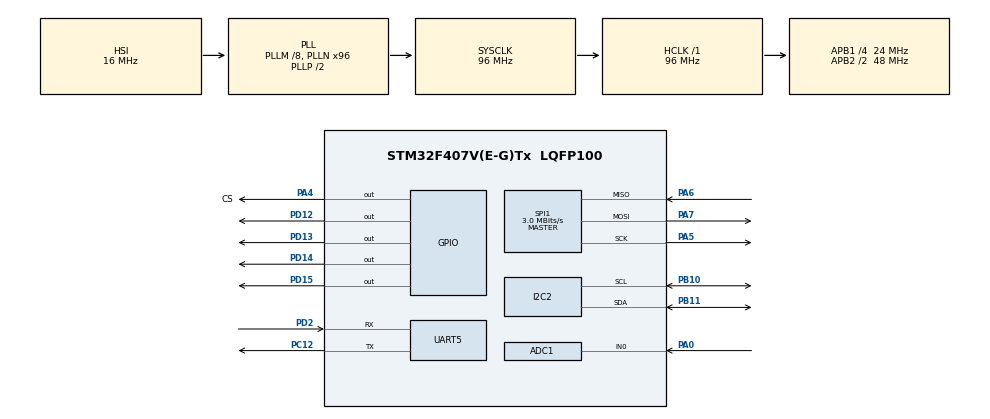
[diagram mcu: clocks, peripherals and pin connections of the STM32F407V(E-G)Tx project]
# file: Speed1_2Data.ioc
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ADC1.Channel-3\#ChannelRegularConversion=ADC_CHANNEL_0
ADC1.ContinuousConvMode=DISABLE
ADC1.NbrOfConversionFlag=1
ADC1.Rank-3\#ChannelRegularConversion=1
ADC1.SamplingTime-3\#ChannelRegularConversion=ADC_SAMPLETIME_84CYCLES
ADC1.master=1
I2C2.DutyCycle=I2C_DUTYCYCLE_16_9
I2C2.I2C_Mode=I2C_Fast
Mcu.Family=STM32F4
Mcu.Name=STM32F407V(E-G)Tx
Mcu.Package=LQFP100
NVIC.PriorityGroup=NVIC_PRIORITYGROUP_4
NVIC.TIM2_IRQn=true\:0\:0\:false\:false\:true\:true\:true\:true
NVIC.TIM3_IRQn=true\:0\:0\:false\:false\:true\:true\:true\:true
PA0-WKUP.Signal=ADCx_IN0
PA13.Mode=Serial_Wire
PA13.Signal=SYS_JTMS-SWDIO
PA14.Mode=Serial_Wire
PA14.Signal=SYS_JTCK-SWCLK
PA4.GPIO_Label=CS
PA4.GPIO_PuPd=GPIO_PULLUP
PA4.GPIO_Speed=GPIO_SPEED_FREQ_VERY_HIGH
PA4.PinState=GPIO_PIN_SET
PA4.Signal=GPIO_Output
PA5.GPIO_Speed=GPIO_SPEED_FREQ_HIGH
PA5.Mode=Full_Duplex_Master
PA5.Signal=SPI1_SCK
PA6.GPIO_Speed=GPIO_SPEED_FREQ_HIGH
PA6.Mode=Full_Duplex_Master
PA6.Signal=SPI1_MISO
PA7.GPIO_Speed=GPIO_SPEED_FREQ_HIGH
PA7.Mode=Full_Duplex_Master
PA7.Signal=SPI1_MOSI
PB10.GPIO_Pu=GPIO_PULLUP
PB10.Mode=I2C
PB10.Signal=I2C2_SCL
PB11.GPIO_Pu=GPIO_PULLUP
PB11.Mode=I2C
PB11.Signal=I2C2_SDA
PC12.Mode=Asynchronous
PC12.Signal=UART5_TX
PD12.GPIO_PuPd=GPIO_NOPULL
PD12.Signal=GPIO_Output
PD13.Signal=GPIO_Output
PD14.Signal=GPIO_Output
PD15.Signal=GPIO_Output
PD2.Mode=Asynchronous
PD2.Signal=UART5_RX
ProjectManager.HeapSize=0x800
ProjectManager.StackSize=0x800
ProjectManager.TargetToolchain=STM32CubeIDE
RCC.48MHZClocksFreq_Value=48000000
RCC.AHBFreq_Value=96000000
RCC.APB1CLKDivider=RCC_HCLK_DIV4
RCC.APB1Freq_Value=24000000
RCC.APB1TimFreq_Value=48000000
RCC.APB2CLKDivider=RCC_HCLK_DIV2
RCC.APB2Freq_Value=48000000
RCC.APB2TimFreq_Value=96000000
RCC.CortexFreq_Value=96000000
RCC.HCLKFreq_Value=96000000
RCC.HSE_VALUE=25000000
RCC.HSI_VALUE=16000000
RCC.LSE_VALUE=32768
RCC.PLLM=8
RCC.PLLN=96
RCC.SYSCLKFreq_VALUE=96000000
RCC.SYSCLKSource=RCC_SYSCLKSOURCE_PLLCLK
RCC.VCOOutputFreq_Value=192000000
SH.ADCx_IN0.0=ADC1_IN0,IN0
SPI1.BaudRatePrescaler=SPI_BAUDRATEPRESCALER_16
SPI1.CLKPhase=SPI_PHASE_2EDGE
SPI1.CLKPolarity=SPI_POLARITY_HIGH
SPI1.CalculateBaudRate=3.0 MBits/s
SPI1.Direction=SPI_DIRECTION_2LINES
SPI1.Mode=SPI_MODE_MASTER
SPI1.VirtualType=VM_MASTER
STMicroelectronics.X-CUBE-AI.10.1.0.ActivationBufferSizeList=2356
STMicroelectronics.X-CUBE-AI.10.1.0.ActivationBuffers=pool0
STMicroelectronics.X-CUBE-AI.10.1.0.ActivationNames=pool0
STMicroelectronics.X-CUBE-AI.10.1.0.ActivationSizes=AI_NETWORK_DATA_ACTIVATION_1_SIZE
STMicroelectronics.X-CUBE-AI.10.1.0.HeapSize=0x800
STMicroelectronics.X-CUBE-AI.10.1.0.InternalRamActivationBufferMaxSize=AI_NETWORK_DATA_ACTIVATIONS_SIZE
STMicroelectronics.X-CUBE-AI.10.1.0.LatestDirectoryUsed-e8f0356ef31d2fd0b68baaa185d27bc88fe15392d36cc2b16461b700e6924d8d=/home/desd/Downloads
STMicroelectronics.X-CUBE-AI.10.1.0.MaximumNumberOfInputLayer=1
STMicroelectronics.X-CUBE-AI.10.1.0.MaximumNumberOfOutputLayer=1
STMicroelectronics.X-CUBE-AI.10.1.0.MaximumSizeOfInputLayer=1
STMicroelectronics.X-CUBE-AI.10.1.0.MaximumSizeOfOutputLayer=1
STMicroelectronics.X-CUBE-AI.10.1.0.ModelActualCompression-e8f0356ef31d2fd0b68baaa185d27bc88fe15392d36cc2b16461b700e6924d8d=0.0
STMicroelectronics.X-CUBE-AI.10.1.0.ModelCompression-e8f0356ef31d2fd0b68baaa185d27bc88fe15392d36cc2b16461b700e6924d8d=None
STMicroelectronics.X-CUBE-AI.10.1.0.ModelFlashOccupation-e8f0356ef31d2fd0b68baaa185d27bc88fe15392d36cc2b16461b700e6924d8d=9800
STMicroelectronics.X-CUBE-AI.10.1.0.ModelHashList=e8f0356ef31d2fd0b68baaa185d27bc88fe15392d36cc2b16461b700e6924d8d
STMicroelectronics.X-CUBE-AI.10.1.0.ModelKind-e8f0356ef31d2fd0b68baaa185d27bc88fe15392d36cc2b16461b700e6924d8d=TFLITE
STMicroelectronics.X-CUBE-AI.10.1.0.ModelMacc-e8f0356ef31d2fd0b68baaa185d27bc88fe15392d36cc2b16461b700e6924d8d=138
STMicroelectronics.X-CUBE-AI.10.1.0.ModelName-e8f0356ef31d2fd0b68baaa185d27bc88fe15392d36cc2b16461b700e6924d8d=network
STMicroelectronics.X-CUBE-AI.10.1.0.ModelNameList=network
STMicroelectronics.X-CUBE-AI.10.1.0.ModelRamOccupation-e8f0356ef31d2fd0b68baaa185d27bc88fe15392d36cc2b16461b700e6924d8d=2356
STMicroelectronics.X-CUBE-AI.10.1.0.ModelStructureFile-e8f0356ef31d2fd0b68baaa185d27bc88fe15392d36cc2b16461b700e6924d8d=/home/desd/Downloads/Speed1&2Model.tflite
STMicroelectronics.X-CUBE-AI.10.1.0.ModelType-e8f0356ef31d2fd0b68baaa185d27bc88fe15392d36cc2b16461b700e6924d8d=STM32Cube.AI MCU runtime
STMicroelectronics.X-CUBE-AI.10.1.0.ReadyForCodeGeneration=true
STMicroelectronics.X-CUBE-AI.10.1.0.StackSize=0x800
STMicroelectronics.X-CUBE-AI.10.1.0.WorkingBufferStartAddrList=0xFFFFFFFF
STMicroelectronics.X-CUBE-AI.10.1.0.XAaCUBEAaAICcArtificialOoIntelligenceJjCore=true
STMicroelectronics.X-CUBE-AI.10.1.0.copyWeightToRam=false
STMicroelectronics.X-CUBE-AI.10.1.0.copyWeightToRam-e8f0356ef31d2fd0b68baaa185d27bc88fe15392d36cc2b16461b700e6924d8d=false
STMicroelectronics.X-CUBE-AI.10.1.0.customLayerConfigEnabled=false
STMicroelectronics.X-CUBE-AI.10.1.0.customLayerConfigEnabled-e8f0356ef31d2fd0b68baaa185d27bc88fe15392d36cc2b16461b700e6924d8d=false
STMicroelectronics.X-CUBE-AI.10.1.0.noOnnxIoTranspose=false
STMicroelectronics.X-CUBE-AI.10.1.0.noOnnxIoTranspose-e8f0356ef31d2fd0b68baaa185d27bc88fe15392d36cc2b16461b700e6924d8d=false
STMicroelectronics.X-CUBE-AI.10.1.0.outputDirectory=/home/desd/.stm32cubemx/health_network_output
STMicroelectronics.X-CUBE-AI.10.1.0.useInputAllocation=true
STMicroelectronics.X-CUBE-AI.10.1.0.useInputAllocation-e8f0356ef31d2fd0b68baaa185d27bc88fe15392d36cc2b16461b700e6924d8d=true
STMicroelectronics.X-CUBE-AI.10.1.0.useOutputAllocation=true
STMicroelectronics.X-CUBE-AI.10.1.0.useOutputAllocation-e8f0356ef31d2fd0b68baaa185d27bc88fe15392d36cc2b16461b700e6924d8d=true
TIM2.Period=249
TIM2.Prescaler=95
TIM3.Period=1249
TIM3.Prescaler=95
UART5.VirtualMode=Asynchronous
VP_CRC_VS_CRC.Mode=CRC_Activate
VP_STMicroelectronics.X-CUBE-AI_VS_ArtificialOoIntelligenceJjXAaCUBEAaAI_10.1.0.Mode=ArtificialOoIntelligenceJjXAaCUBEAaAI
VP_TIM2_VS_ClockSourceINT.Mode=Internal
VP_TIM3_VS_ClockSourceINT.Mode=Internal
board=custom

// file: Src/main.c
/* USER CODE BEGIN Header */
/**
 ******************************************************************************
 * @file           : main.c
 * @brief          : Main program body
 ******************************************************************************
 * @attention
 *
 * Copyright (c) 2026 STMicroelectronics.
 * All rights reserved.
 *
 * This software is licensed under terms that can be found in the LICENSE file
 * in the root directory of this software component.
 * If no LICENSE file comes with this software, it is provided AS-IS.
 *
 ******************************************************************************
 */
/* USER CODE END Header */
#include "main.h"

/* USER CODE BEGIN Includes */
#include <math.h>
#include <stdio.h>
#include <stdlib.h>
#include <time.h>
#include <string.h>
#include <stdarg.h>

#include "network.h"
#include "network_data.h"
/* USER CODE END Includes */

/* USER CODE BEGIN PD */
//==========================================================================
#define SHT31_ADDR          (0x44 << 1) // Try 0x45 if 0x44 fails
//===========================================================================
#define ADXL345_CS_PORT     GPIOA
#define ADXL345_CS_PIN      GPIO_PIN_4
//===========================================================================
#define REG_DATAX0          0x32
//============================================================================
#define MEAN_IRMS			0.19303803
#define MEAN_VIBMAG			0.35111946
#define SD_IRMS				0.00615908
#define SD_VIBMAG			0.04134532
#define THRESHOLD			0.2892727262753771
//=============================================================================
#define QUEUE_MAX_SIZE		2
#define SAMPLE_RATE_HZ      4000
#define RMS_WINDOW_MS       40

#define RMS_SAMPLES         ((SAMPLE_RATE_HZ * RMS_WINDOW_MS) / 1000) // 160
#define ADC_LSB             (2.976f / 4095.0f)
#define CURRENT_NOISE_A     0.03f
#define DIVIDER_RATIO 		0.3125f   // 10k / (10k + 22k)

//============================================================================
typedef struct {
	float Irms[QUEUE_MAX_SIZE];
	float VibrationMag[QUEUE_MAX_SIZE];
	uint16_t count;   // how many valid samples
} dataBuff_t;
//==============================================================================
#define VIB_RMS_SAMPLES   16   // 32 samples @ 800 Hz = 40 ms

//================================================================================
/* USER CODE END PD */

ADC_HandleTypeDef hadc1;

CRC_HandleTypeDef hcrc;

I2C_HandleTypeDef hi2c2;

SPI_HandleTypeDef hspi1;

TIM_HandleTypeDef htim2;
TIM_HandleTypeDef htim3;

UART_HandleTypeDef huart5;

/* USER CODE BEGIN PV */
volatile float Irms = 0, mag = 0;
volatile uint16_t adc_zero_offset = 2048;   // default mid-scale
float v_off_x = 0, v_off_y = 0, v_off_z = 0;
const float sensitivity = 0.185f;

volatile uint8_t flag_vibe = 0;

ai_u8 activations[AI_NETWORK_DATA_ACTIVATIONS_SIZE];
float in_data[AI_NETWORK_IN_1_SIZE];
float out_data[AI_NETWORK_OUT_1_SIZE];

/* AI buffer IO handlers */
ai_buffer *ai_input;
ai_buffer *ai_output;

//float *out_val, reconError;
ai_i32 n_batch;

dataBuff_t queueA, queueB;
dataBuff_t *activeQueue = &queueA;
dataBuff_t *processQueue = &queueB;

volatile uint8_t inference_pending = 0;

float error = 0;

volatile uint8_t adc_sample_flag = 0;
static uint16_t adc_index = 0;

volatile float vib_sq_acc = 0.0f;
volatile uint16_t vib_count = 0;
volatile float vib_rms_buffer = 0.0f;
volatile uint8_t vib_rms_pending = 0;

float avgIrms, avgVib;

float adc_offset_f = 0.0f;
/* USER CODE END PV */

void SystemClock_Config(void);
static void MX_GPIO_Init(void);
static void MX_I2C2_Init(void);
static void MX_SPI1_Init(void);
static void MX_ADC1_Init(void);
static void MX_TIM2_Init(void);
static void MX_TIM3_Init(void);
static void MX_UART5_Init(void);
static void MX_CRC_Init(void);
/* USER CODE BEGIN PFP */
void ADXL_Write(uint8_t reg, uint8_t val);
void Init_Predictive_Maintenance(void);
void Read_SHT31(void);
void Read_Vibration_Data(void);
void Calibrate_Vibration(void);

void UART_Printf(const char *fmt, ...);

void initializeQueue(dataBuff_t *queue);

void storeSample(float irms, float vib);

void computeAverages(dataBuff_t *q, float *avgIrms, float *avgVib);

void readData(void);

void Send_Anomaly_Status(uint8_t anomaly);

void Calibrate_Current_Zero(void);

void Send_UART_Packet(float irms, float vib, uint8_t anomaly);

float generate_Irms(float vib);

/* USER CODE END PFP */

int main(void) {

	/* MCU Configuration--------------------------------------------------------*/

	/* Reset of all peripherals, Initializes the Flash interface and the Systick. */
	HAL_Init();

	/* Configure the system clock */
	SystemClock_Config();

	/* Initialize all configured peripherals */
	MX_GPIO_Init();
	MX_I2C2_Init();
	MX_SPI1_Init();
	MX_ADC1_Init();
	MX_TIM2_Init();
	MX_TIM3_Init();
	MX_UART5_Init();
	MX_CRC_Init();
	/* USER CODE BEGIN 2 */
	ai_handle network = AI_HANDLE_NULL;
	ai_error err;
	ai_network_report report;

	/** @brief Initialize network */
	const ai_handle acts[] = { activations };
	err = ai_network_create_and_init(&network, acts, NULL);
	if (err.type != AI_ERROR_NONE) {
		UART_Printf("ai init_and_create error\r\n");
		return -1;
	}

	/** @brief {optional} for debug/log purpose */
	if (ai_network_get_report(network, &report) != true) {
		UART_Printf("ai get report error\r\n");
		return -1;
	}

	UART_Printf("Model name      : %s\r\n", report.model_name);
	UART_Printf("Model signature : %s\r\n", report.model_signature);

	ai_input = &report.inputs[0];
	ai_output = &report.outputs[0];
	UART_Printf("input[0] : (%d, %d, %d)\r\n",
			AI_BUFFER_SHAPE_ELEM(ai_input, AI_SHAPE_HEIGHT),
			AI_BUFFER_SHAPE_ELEM(ai_input, AI_SHAPE_WIDTH),
			AI_BUFFER_SHAPE_ELEM(ai_input, AI_SHAPE_CHANNEL));
	UART_Printf("output[0] : (%d, %d, %d)\r\n",
			AI_BUFFER_SHAPE_ELEM(ai_output, AI_SHAPE_HEIGHT),
			AI_BUFFER_SHAPE_ELEM(ai_output, AI_SHAPE_WIDTH),
			AI_BUFFER_SHAPE_ELEM(ai_output, AI_SHAPE_CHANNEL));

	//ai_i32 n_batch;

	HAL_Delay(250);

	Init_Predictive_Maintenance();
	Calibrate_Vibration();
	//Run_Startup_Calibration();

	for (int i = 0; i < 50; i++) {
		HAL_ADC_Start(&hadc1);
		HAL_ADC_PollForConversion(&hadc1, 1);
		HAL_ADC_GetValue(&hadc1);
	}

	HAL_Delay(50);

	initializeQueue(&queueA);
	initializeQueue(&queueB);

	for (int i = 0; i < 200; i++) {
		HAL_ADC_Start(&hadc1);
		HAL_ADC_PollForConversion(&hadc1, 1);
		float current = ((int32_t) HAL_ADC_GetValue(&hadc1) - adc_zero_offset)
				* ADC_LSB / sensitivity;
		UART_Printf("%.4f\r\n", current);
	}

	Calibrate_Current_Zero();
	HAL_TIM_Base_Start_IT(&htim2);
	HAL_TIM_Base_Start_IT(&htim3);

	/* USER CODE END 2 */

	/* Infinite loop */
	/* USER CODE BEGIN WHILE */
	while (1) {
		if (adc_sample_flag) {
			readData();
			adc_sample_flag = 0;
		}

		if (flag_vibe) {
			Read_Vibration_Data();
			flag_vibe = 0;
		}

		if (inference_pending) {

			computeAverages(processQueue, &avgIrms, &avgVib);

			if (avgIrms < 0)
				avgIrms = 0;
			if (avgVib < 0)
				avgVib = 0;

			// Normalize
			in_data[0] = (avgIrms - MEAN_IRMS) / SD_IRMS;
			in_data[1] = (avgVib - MEAN_VIBMAG) / SD_VIBMAG;

			ai_input = ai_network_inputs_get(network, NULL);
			ai_output = ai_network_outputs_get(network, NULL);

			ai_input[0].data = AI_HANDLE_PTR(in_data);
			ai_output[0].data = AI_HANDLE_PTR(out_data);

			if (ai_network_run(network, &ai_input[0], &ai_output[0]) == 1) {

				error = ((in_data[0] - out_data[0]) * (in_data[0] - out_data[0])
						+ (in_data[1] - out_data[1])
								* (in_data[1] - out_data[1])) / 2.0f;

				UART_Printf("AVG Irms: %.3f | AVG Vib: %.3f\r\n", avgIrms,
						avgVib);
				UART_Printf("Reconstruction Error: %.4f\r\n", error);

				if (error > THRESHOLD) {
					UART_Printf("Anomaly Detected\r\n");
					Send_UART_Packet(avgIrms, avgVib, 1);

				} else {
					UART_Printf("Normal Operation\r\n");
					Send_UART_Packet(avgIrms, avgVib, 0);
				}
			}

			processQueue->count = 0;
			inference_pending = 0;
		}

		HAL_Delay(10);

		/* USER CODE END WHILE */

	}
}

void SystemClock_Config(void) {
	RCC_OscInitTypeDef RCC_OscInitStruct = { 0 };
	RCC_ClkInitTypeDef RCC_ClkInitStruct = { 0 };

	/** Configure the main internal regulator output voltage
	 */
	__HAL_RCC_PWR_CLK_ENABLE();
	__HAL_PWR_VOLTAGESCALING_CONFIG(PWR_REGULATOR_VOLTAGE_SCALE1);

	/** Initializes the RCC Oscillators according to the specified parameters
	 * in the RCC_OscInitTypeDef structure.
	 */
	RCC_OscInitStruct.OscillatorType = RCC_OSCILLATORTYPE_HSI;
	RCC_OscInitStruct.HSIState = RCC_HSI_ON;
	RCC_OscInitStruct.HSICalibrationValue = RCC_HSICALIBRATION_DEFAULT;
	RCC_OscInitStruct.PLL.PLLState = RCC_PLL_ON;
	RCC_OscInitStruct.PLL.PLLSource = RCC_PLLSOURCE_HSI;
	RCC_OscInitStruct.PLL.PLLM = 8;
	RCC_OscInitStruct.PLL.PLLN = 96;
	RCC_OscInitStruct.PLL.PLLP = RCC_PLLP_DIV2;
	RCC_OscInitStruct.PLL.PLLQ = 4;
	if (HAL_RCC_OscConfig(&RCC_OscInitStruct) != HAL_OK) {
		Error_Handler();
	}

	/** Initializes the CPU, AHB and APB buses clocks
	 */
	RCC_ClkInitStruct.ClockType = RCC_CLOCKTYPE_HCLK | RCC_CLOCKTYPE_SYSCLK
			| RCC_CLOCKTYPE_PCLK1 | RCC_CLOCKTYPE_PCLK2;
	RCC_ClkInitStruct.SYSCLKSource = RCC_SYSCLKSOURCE_PLLCLK;
	RCC_ClkInitStruct.AHBCLKDivider = RCC_SYSCLK_DIV1;
	RCC_ClkInitStruct.APB1CLKDivider = RCC_HCLK_DIV4;
	RCC_ClkInitStruct.APB2CLKDivider = RCC_HCLK_DIV2;

	if (HAL_RCC_ClockConfig(&RCC_ClkInitStruct, FLASH_LATENCY_3) != HAL_OK) {
		Error_Handler();
	}
}

static void MX_ADC1_Init(void) {

	ADC_ChannelConfTypeDef sConfig = { 0 };

	/** Configure the global features of the ADC (Clock, Resolution, Data Alignment and number of conversion)
	 */
	hadc1.Instance = ADC1;
	hadc1.Init.ClockPrescaler = ADC_CLOCK_SYNC_PCLK_DIV4;
	hadc1.Init.Resolution = ADC_RESOLUTION_12B;
	hadc1.Init.ScanConvMode = DISABLE;
	hadc1.Init.ContinuousConvMode = DISABLE;
	hadc1.Init.DiscontinuousConvMode = DISABLE;
	hadc1.Init.ExternalTrigConvEdge = ADC_EXTERNALTRIGCONVEDGE_NONE;
	hadc1.Init.ExternalTrigConv = ADC_SOFTWARE_START;
	hadc1.Init.DataAlign = ADC_DATAALIGN_RIGHT;
	hadc1.Init.NbrOfConversion = 1;
	hadc1.Init.DMAContinuousRequests = DISABLE;
	hadc1.Init.EOCSelection = ADC_EOC_SINGLE_CONV;
	if (HAL_ADC_Init(&hadc1) != HAL_OK) {
		Error_Handler();
	}

	/** Configure for the selected ADC regular channel its corresponding rank in the sequencer and its sample time.
	 */
	sConfig.Channel = ADC_CHANNEL_2;
	sConfig.Rank = 1;
	sConfig.SamplingTime = ADC_SAMPLETIME_144CYCLES;
	if (HAL_ADC_ConfigChannel(&hadc1, &sConfig) != HAL_OK) {
		Error_Handler();
	}

}

static void MX_CRC_Init(void) {

	hcrc.Instance = CRC;
	if (HAL_CRC_Init(&hcrc) != HAL_OK) {
		Error_Handler();
	}

}

static void MX_I2C2_Init(void) {

	hi2c2.Instance = I2C2;
	hi2c2.Init.ClockSpeed = 400000;
	hi2c2.Init.DutyCycle = I2C_DUTYCYCLE_16_9;
	hi2c2.Init.OwnAddress1 = 0;
	hi2c2.Init.AddressingMode = I2C_ADDRESSINGMODE_7BIT;
	hi2c2.Init.DualAddressMode = I2C_DUALADDRESS_DISABLE;
	hi2c2.Init.OwnAddress2 = 0;
	hi2c2.Init.GeneralCallMode = I2C_GENERALCALL_DISABLE;
	hi2c2.Init.NoStretchMode = I2C_NOSTRETCH_DISABLE;
	if (HAL_I2C_Init(&hi2c2) != HAL_OK) {
		Error_Handler();
	}

}

static void MX_SPI1_Init(void) {

	/* SPI1 parameter configuration*/
	hspi1.Instance = SPI1;
	hspi1.Init.Mode = SPI_MODE_MASTER;
	hspi1.Init.Direction = SPI_DIRECTION_2LINES;
	hspi1.Init.DataSize = SPI_DATASIZE_8BIT;
	hspi1.Init.CLKPolarity = SPI_POLARITY_HIGH;
	hspi1.Init.CLKPhase = SPI_PHASE_2EDGE;
	hspi1.Init.NSS = SPI_NSS_SOFT;
	hspi1.Init.BaudRatePrescaler = SPI_BAUDRATEPRESCALER_16;
	hspi1.Init.FirstBit = SPI_FIRSTBIT_MSB;
	hspi1.Init.TIMode = SPI_TIMODE_DISABLE;
	hspi1.Init.CRCCalculation = SPI_CRCCALCULATION_DISABLE;
	hspi1.Init.CRCPolynomial = 10;
	if (HAL_SPI_Init(&hspi1) != HAL_OK) {
		Error_Handler();
	}

}

static void MX_TIM2_Init(void) {

	TIM_ClockConfigTypeDef sClockSourceConfig = { 0 };
	TIM_MasterConfigTypeDef sMasterConfig = { 0 };

	htim2.Instance = TIM2;
	htim2.Init.Prescaler = 95;
	htim2.Init.CounterMode = TIM_COUNTERMODE_UP;
	htim2.Init.Period = 249;
	htim2.Init.ClockDivision = TIM_CLOCKDIVISION_DIV1;
	htim2.Init.AutoReloadPreload = TIM_AUTORELOAD_PRELOAD_DISABLE;
	if (HAL_TIM_Base_Init(&htim2) != HAL_OK) {
		Error_Handler();
	}
	sClockSourceConfig.ClockSource = TIM_CLOCKSOURCE_INTERNAL;
	if (HAL_TIM_ConfigClockSource(&htim2, &sClockSourceConfig) != HAL_OK) {
		Error_Handler();
	}
	sMasterConfig.MasterOutputTrigger = TIM_TRGO_RESET;
	sMasterConfig.MasterSlaveMode = TIM_MASTERSLAVEMODE_DISABLE;
	if (HAL_TIMEx_MasterConfigSynchronization(&htim2, &sMasterConfig)
			!= HAL_OK) {
		Error_Handler();
	}

}

static void MX_TIM3_Init(void) {

	TIM_ClockConfigTypeDef sClockSourceConfig = { 0 };
	TIM_MasterConfigTypeDef sMasterConfig = { 0 };

	htim3.Instance = TIM3;
	htim3.Init.Prescaler = 95;
	htim3.Init.CounterMode = TIM_COUNTERMODE_UP;
	htim3.Init.Period = 2499;
	htim3.Init.ClockDivision = TIM_CLOCKDIVISION_DIV1;
	htim3.Init.AutoReloadPreload = TIM_AUTORELOAD_PRELOAD_DISABLE;
	if (HAL_TIM_Base_Init(&htim3) != HAL_OK) {
		Error_Handler();
	}
	sClockSourceConfig.ClockSource = TIM_CLOCKSOURCE_INTERNAL;
	if (HAL_TIM_ConfigClockSource(&htim3, &sClockSourceConfig) != HAL_OK) {
		Error_Handler();
	}
	sMasterConfig.MasterOutputTrigger = TIM_TRGO_RESET;
	sMasterConfig.MasterSlaveMode = TIM_MASTERSLAVEMODE_DISABLE;
	if (HAL_TIMEx_MasterConfigSynchronization(&htim3, &sMasterConfig)
			!= HAL_OK) {
		Error_Handler();
	}

}

static void MX_UART5_Init(void) {

	huart5.Instance = UART5;
	huart5.Init.BaudRate = 115200;
	huart5.Init.WordLength = UART_WORDLENGTH_8B;
	huart5.Init.StopBits = UART_STOPBITS_1;
	huart5.Init.Parity = UART_PARITY_NONE;
	huart5.Init.Mode = UART_MODE_TX_RX;
	huart5.Init.HwFlowCtl = UART_HWCONTROL_NONE;
	huart5.Init.OverSampling = UART_OVERSAMPLING_16;
	if (HAL_UART_Init(&huart5) != HAL_OK) {
		Error_Handler();
	}

}

static void MX_GPIO_Init(void) {
	GPIO_InitTypeDef GPIO_InitStruct = { 0 };

	/* GPIO Ports Clock Enable */
	__HAL_RCC_GPIOA_CLK_ENABLE();
	__HAL_RCC_GPIOB_CLK_ENABLE();
	__HAL_RCC_GPIOD_CLK_ENABLE();
	__HAL_RCC_GPIOC_CLK_ENABLE();

	/*Configure GPIO pin Output Level */
	HAL_GPIO_WritePin(CS_GPIO_Port, CS_Pin, GPIO_PIN_SET);

	/*Configure GPIO pin Output Level */
	HAL_GPIO_WritePin(GPIOD,
	GPIO_PIN_12 | GPIO_PIN_13 | GPIO_PIN_14 | GPIO_PIN_15, GPIO_PIN_RESET);

	/*Configure GPIO pin : CS_Pin */
	GPIO_InitStruct.Pin = CS_Pin;
	GPIO_InitStruct.Mode = GPIO_MODE_OUTPUT_PP;
	GPIO_InitStruct.Pull = GPIO_PULLUP;
	GPIO_InitStruct.Speed = GPIO_SPEED_FREQ_VERY_HIGH;
	HAL_GPIO_Init(CS_GPIO_Port, &GPIO_InitStruct);

	/*Configure GPIO pins : PD12 PD13 PD14 PD15 */
	GPIO_InitStruct.Pin = GPIO_PIN_12 | GPIO_PIN_13 | GPIO_PIN_14 | GPIO_PIN_15;
	GPIO_InitStruct.Mode = GPIO_MODE_OUTPUT_PP;
	GPIO_InitStruct.Pull = GPIO_NOPULL;
	GPIO_InitStruct.Speed = GPIO_SPEED_FREQ_LOW;
	HAL_GPIO_Init(GPIOD, &GPIO_InitStruct);

}

/* USER CODE BEGIN 4 */
void HAL_TIM_PeriodElapsedCallback(TIM_HandleTypeDef *htim) {
	if (htim->Instance == TIM2) {
		adc_sample_flag = 1;     // ADC only
	}

	if (htim->Instance == TIM3) {
		flag_vibe = 1;           // Vibration only
	}
}
/* --- SENSOR FUNCTIONS --- */
void readData(void)
{
    float sum_sq = 0.0f;

    for (uint16_t i = 0; i < RMS_SAMPLES; i++)
    {
        HAL_ADC_Start(&hadc1);
        HAL_ADC_PollForConversion(&hadc1, HAL_MAX_DELAY);
        uint16_t raw = HAL_ADC_GetValue(&hadc1);

        float adc_diff = (float)raw - adc_zero_offset;
        float vadc = (adc_diff * ADC_LSB);
        float vacs = vadc / DIVIDER_RATIO;
        float current = vacs / sensitivity;

        sum_sq += current * current;

        // ~20 µs spacing
        for (volatile int d = 0; d < 150; d++);
    }

    Irms = sqrtf(sum_sq / RMS_SAMPLES);
//	if (Irms < 0.15f)
//		Irms = 0.0f;

	adc_index = 0;

	Irms = generate_Irms(vib_rms_buffer);

	/* ================= CONTINUE PIPELINE ================= */
	if (vib_rms_pending) {
		storeSample(Irms, vib_rms_buffer);
		vib_rms_pending = 0;
	}
}

void Read_Vibration_Data(void) {
	uint8_t reg = REG_DATAX0 | 0x80 | 0x40;
	uint8_t rx[6];
	int16_t rawX, rawY, rawZ;

	HAL_GPIO_WritePin(ADXL345_CS_PORT, ADXL345_CS_PIN, GPIO_PIN_RESET);
	HAL_SPI_Transmit(&hspi1, &reg, 1, 10);
	HAL_SPI_Receive(&hspi1, rx, 6, 10);
	HAL_GPIO_WritePin(ADXL345_CS_PORT, ADXL345_CS_PIN, GPIO_PIN_SET);

	rawX = (int16_t) (rx[1] << 8 | rx[0]);
	rawY = (int16_t) (rx[3] << 8 | rx[2]);
	rawZ = (int16_t) (rx[5] << 8 | rx[4]);

	// Current G-values
	float vx = rawX * 0.0039f;
	float vy = rawY * 0.0039f;
	float vz = rawZ * 0.0039f;

	// Subtraction of offsets (Zero Calibration)
	float dx = vx - v_off_x;
	float dy = vy - v_off_y;
	float dz = vz - v_off_z;

	// Final Magnitude (Isme -1.0f ki zarurat nahi kyunki baseline mein gravity included hai)
	mag = sqrtf(dx * dx + dy * dy + dz * dz);

	// Noise Filter: Choti fluctuations ko zero kar do
	if (mag < 0.03f)
		mag = 0.0f;

	/* Vibration RMS energy accumulation */
	vib_sq_acc += mag * mag;
	vib_count++;

	if (vib_count >= VIB_RMS_SAMPLES) {
		vib_rms_buffer = sqrtf(vib_sq_acc / VIB_RMS_SAMPLES);
		vib_sq_acc = 0.0f;
		vib_count = 0;
		vib_rms_pending = 1;
	}

}

/* --- UPDATED INITIALIZATION --- */
void Init_Predictive_Maintenance(void) {
	// 1. +/- 16G Full Res
	ADXL_Write(0x31, 0x0B);

	// 2. Data Rate set to 100Hz (Register 0x2C)
	ADXL_Write(0x2C, 0x0C);   // 0b1101 = 800 Hz

	// 3. Disable all interrupts on ADXL side (Kyunki hum Timer use kar rahe hain)
	ADXL_Write(0x2E, 0x00);

	// 4. Start Measurement Mode
	ADXL_Write(0x2D, 0x08);

	HAL_Delay(10); // Sensor stability time
}

/*void Read_SHT31(void) {
 uint8_t cmd[] = { 0x24, 0x00 }, data[6];
 if (HAL_I2C_Master_Transmit(&hi2c2, SHT31_ADDR, cmd, 2, 100) == HAL_OK) {
 HAL_Delay(25); // Safe measurement time
 if (HAL_I2C_Master_Receive(&hi2c2, SHT31_ADDR, data, 6, 100)
 == HAL_OK) {
 Temperature = -45.0f
 + (175.0f * (float) ((data[0] << 8) | data[1]) / 65535.0f);
 Humidity = 100.0f * (float) ((data[3] << 8) | data[4]) / 65535.0f;
 }
 }
 }*/

void ADXL_Write(uint8_t reg, uint8_t val) {
	uint8_t tx[2] = { reg, val };
	HAL_GPIO_WritePin(ADXL345_CS_PORT, ADXL345_CS_PIN, GPIO_PIN_RESET);
	HAL_SPI_Transmit(&hspi1, tx, 2, 10);
	HAL_GPIO_WritePin(ADXL345_CS_PORT, ADXL345_CS_PIN, GPIO_PIN_SET);
}

void Calibrate_Vibration(void) {
	float sumX = 0, sumY = 0, sumZ = 0;
	uint8_t reg = REG_DATAX0 | 0x80 | 0x40;
	uint8_t rx[6];
	int16_t rawX, rawY, rawZ;

	for (int i = 0; i < 100; i++) {
		HAL_GPIO_WritePin(ADXL345_CS_PORT, ADXL345_CS_PIN, GPIO_PIN_RESET);
		HAL_SPI_Transmit(&hspi1, &reg, 1, 10);
		HAL_SPI_Receive(&hspi1, rx, 6, 10);
		HAL_GPIO_WritePin(ADXL345_CS_PORT, ADXL345_CS_PIN, GPIO_PIN_SET);

		rawX = (int16_t) (rx[1] << 8 | rx[0]);
		rawY = (int16_t) (rx[3] << 8 | rx[2]);
		rawZ = (int16_t) (rx[5] << 8 | rx[4]);

		sumX += rawX * 0.0039f;
		sumY += rawY * 0.0039f;
		sumZ += rawZ * 0.0039f;
		HAL_Delay(5);
	}

	v_off_x = sumX / 100.0f;
	v_off_y = sumY / 100.0f;
	v_off_z = sumZ / 100.0f;

	// IMPORTANT: Vibration magnitude ke liye humein gravity vector pata hona chahiye.
	// Jab motor band hai, tab hum magnitude 0 set karne ke liye current magnitude ko hi base maan lete hain.
}

void UART_Printf(const char *fmt, ...) {
	char buf[256]; // Ensure this is large enough for your longest message
	va_list args;
	va_start(args, fmt);
	int len = vsnprintf(buf, sizeof(buf), fmt, args);
	va_end(args);

	if (len > 0) {
		HAL_UART_Transmit(&huart5, (uint8_t*) buf, len, HAL_MAX_DELAY);
	}
}

void Send_Anomaly_Status(uint8_t anomaly) {
	char tx;

	if (anomaly)
		tx = '1';   // Anomaly
	else
		tx = '0';   // Normal

	HAL_UART_Transmit(&huart5, (uint8_t*) &tx, 1, HAL_MAX_DELAY);
}

void initializeQueue(dataBuff_t *q) {
	q->count = 0;
	for (uint16_t i = 0; i < QUEUE_MAX_SIZE; i++) {
		q->Irms[i] = 0.0f;
		q->VibrationMag[i] = 0.0f;
	}
}

void storeSample(float irms, float vib) {
	if (inference_pending)
		return;

	if (activeQueue->count < QUEUE_MAX_SIZE) {
		uint16_t idx = activeQueue->count;
		activeQueue->Irms[idx] = irms;
		activeQueue->VibrationMag[idx] = vib;
		activeQueue->count++;
	}

	// If active queue is full → mark for inference & swap buffers
	if (activeQueue->count >= QUEUE_MAX_SIZE) {

		dataBuff_t *temp = activeQueue;
		activeQueue = processQueue;
		processQueue = temp;

		activeQueue->count = 0;   // reset new active queue
		inference_pending = 1;    // signal main loop
	}
}

float generate_Irms(float vib){
    float irms=0;
    if(vib > 0.06 && vib < 0.1)
    	irms = 0.295f + 0.025f*vib;
    else if(!vib || vib < 0.1)
    	irms = 0;
    else if(vib < 0.50)
        irms = 0.185f + 0.030f*vib;
    else
        irms = 0.225f + 0.025f*vib;

    if(irms <= 0)
    	return 0;
    return irms;
}

void computeAverages(dataBuff_t *q, float *avgIrms, float *avgVib) {
	if (q->count == 0) {
		*avgIrms = 0.0f;
		*avgVib = 0.0f;
		return;
	}

	float sumI = 0.0f;
	float sumV = 0.0f;

	for (uint16_t i = 0; i < q->count; i++) {
		sumI += q->Irms[i];
		sumV += q->VibrationMag[i];
	}

	*avgIrms = sumI / q->count;
	*avgVib = sumV / q->count;
}

void Calibrate_Current_Zero(void) {
	uint32_t sum = 0;
	const uint16_t samples = 3000;

	for (uint16_t i = 0; i < samples; i++) {
		HAL_ADC_Start(&hadc1);
		HAL_ADC_PollForConversion(&hadc1, 1);
		sum += HAL_ADC_GetValue(&hadc1);
	}

	adc_zero_offset = sum / samples;

	UART_Printf("ADC Zero Offset = %u\r\n", adc_zero_offset);
}

void Send_UART_Packet(float irms, float vib, uint8_t anomaly) {
	char txBuf[64];

	// Packet format:
	// $I:0.123,V:0.456,A:1#
	int len = snprintf(txBuf, sizeof(txBuf), "$I:%.3f,V:%.3f,A:%d#\r\n", irms,
			vib, anomaly);

	if (len > 0) {
		HAL_UART_Transmit(&huart5, (uint8_t*) txBuf, len,
		HAL_MAX_DELAY);
	}
}

/* USER CODE END 4 */

void Error_Handler(void) {
	__disable_irq();
	while (1) {
	}
}
#ifdef USE_FULL_ASSERT
	/**
	  * @brief  Reports the name of the source file and the source line number
	  *         where the assert_param error has occurred.
	  * @param  file: pointer to the source file name
	  * @param  line: assert_param error line source number
	  * @retval None
	  */
	void assert_failed(uint8_t *file, uint32_t line)
	{
	}
	#endif /* USE_FULL_ASSERT */
